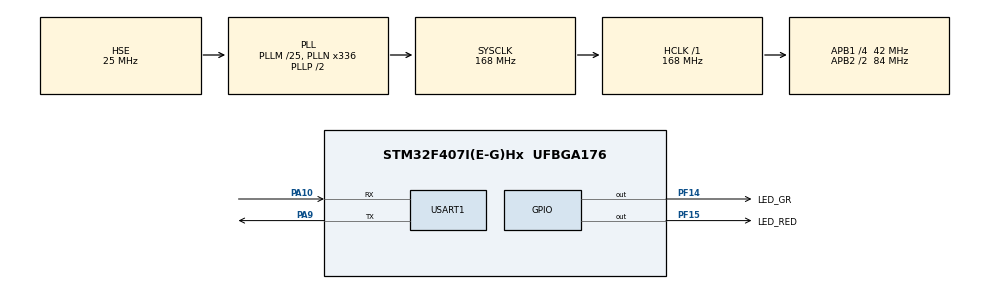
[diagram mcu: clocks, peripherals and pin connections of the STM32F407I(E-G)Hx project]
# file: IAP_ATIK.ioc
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Mcu.Family=STM32F4
RCC.PLLSourceVirtual=RCC_PLLSOURCE_HSE
PH0-OSC_IN.Signal=RCC_OSC_IN
RCC.CortexFreq_Value=168000000
PA10.Mode=Asynchronous
PF14.GPIO_Label=LED_GR
RCC.APB1CLKDivider=RCC_HCLK_DIV4
RCC.SYSCLKSource=RCC_SYSCLKSOURCE_PLLCLK
ProjectManager.StackSize=0x400
PA9.Mode=Asynchronous
ProjectManager.TargetToolchain=STM32CubeIDE
RCC.HCLKFreq_Value=168000000
RCC.APB2TimFreq_Value=168000000
PA9.Signal=USART1_TX
RCC.LSE_VALUE=32768
RCC.AHBFreq_Value=168000000
PH0-OSC_IN.Mode=HSE-External-Clock-Source
RCC.HSE_VALUE=25000000
board=custom
RCC.VCOOutputFreq_Value=336000000
RCC.APB2Freq_Value=84000000
PH1-OSC_OUT.Signal=RCC_OSC_OUT
PF15.GPIO_Label=LED_RED
PF15.Signal=GPIO_Output
Mcu.Name=STM32F407I(E-G)Hx
PH1-OSC_OUT.Mode=HSE-External-Clock-Source
RCC.48MHZClocksFreq_Value=84000000
RCC.SYSCLKFreq_VALUE=168000000
Mcu.Package=UFBGA176
USART1.VirtualMode=VM_ASYNC
PA10.Signal=USART1_RX
ProjectManager.HeapSize=0x200
RCC.HSI_VALUE=16000000
NVIC.PriorityGroup=NVIC_PRIORITYGROUP_4
RCC.APB2CLKDivider=RCC_HCLK_DIV2
RCC.PLLM=25
RCC.PLLN=336
PF14.Signal=GPIO_Output
RCC.APB1TimFreq_Value=84000000
RCC.APB1Freq_Value=42000000

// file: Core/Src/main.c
/* USER CODE BEGIN Header */
/**
  ******************************************************************************
  * @file           : main.c
  * @brief          : Main program body
  ******************************************************************************
  * @attention
  *
  * <h2><center>&copy; Copyright (c) 2021 STMicroelectronics.
  * All rights reserved.</center></h2>
  *
  * This software component is licensed by ST under BSD 3-Clause license,
  * the "License"; You may not use this file except in compliance with the
  * License. You may obtain a copy of the License at:
  *                        opensource.org/licenses/BSD-3-Clause
  *
  ******************************************************************************
  */
/* USER CODE END Header */
#include "main.h"

/* USER CODE BEGIN Includes */
#include "stm32f4xx_hal.h"
#include "menu.h"
#include "common.h"
/* USER CODE END Includes */

/* USER CODE BEGIN PV */
UART_HandleTypeDef UartHandle;

extern pFunction JumpToApplication;
extern uint32_t JumpAddress;
extern uint8_t 	IAP_mode;

/* USER CODE END PV */

void SystemClock_Config(void);
static void MX_GPIO_Init(void);
static void MX_USART1_UART_Init(void);

int main(void)
{
  /* USER CODE BEGIN 1 */
	uint8_t 	key = 0;			// version 1.3
	uint8_t 	bytes_read = 0;		// version 1.3
  /* USER CODE END 1 */

  /* MCU Configuration--------------------------------------------------------*/

  /* Reset of all peripherals, Initializes the Flash interface and the Systick. */
  HAL_Init();

  /* Configure the system clock */
  SystemClock_Config();

  /* Initialize all configured peripherals */
  MX_GPIO_Init();
  MX_USART1_UART_Init();
  /* USER CODE BEGIN 2 */

	IAP_mode = 0;

	FLASH_If_Init();
	Main_Menu ();

	IAP_mode = 0;

//	STM32F407 MSP will be 0x2002_0000, to accept this, below line is changed
//	if (((*(__IO uint32_t*)USER_START_ADDRESS) & 0x2FFE0000 ) == 0x20000000)
	if (((*(__IO uint32_t*)USER_START_ADDRESS) & 0x2FFD0000 ) == 0x20000000)
	{
		Serial_PutString((uint8_t *)"\r\nStart application program...\r\n\n");
		HAL_Delay( 200 );

#if 1 // D.C Lee, version 1.1, release used MCU resources before jump to app
		HAL_RCC_DeInit();
		HAL_DeInit();

		/* Disable SysTick */
		SysTick->CTRL = 0;
		SysTick->LOAD = 0;
		SysTick->VAL  = 0;
#endif
		/* Jump to user application */
		JumpAddress = *(__IO uint32_t*) (USER_START_ADDRESS + 4);
		JumpToApplication = (pFunction) JumpAddress;
		/* Initialize user application's Stack Pointer */
		__set_MSP(*(__IO uint32_t*) USER_START_ADDRESS);
		JumpToApplication();
	}
#if 1 // D.C Lee, version 1.3
	else
	{
		Serial_PutString((uint8_t *)"\r\nNo valid application program...\r\n\n");
		HAL_Delay( 200 );
	}
#endif

  /* USER CODE END 2 */

  /* Infinite loop */
  while (1)
  {

    /* USER CODE BEGIN 3 */
	#if 1 // D.C Lee, version 1.3, restart command (== 'rrr' or 'RRR') service added
		/* Receive key */
		if (HAL_UART_Receive(&UartHandle, &key, 1, 2) == HAL_OK)			// 2msec timeout
		{
			if ((key == 'r') || (key == 'R'))	// character 'R'
			{
				bytes_read++;
				if (bytes_read == 3)
				{
					Serial_PutString((uint8_t *)("\r\nRestart...\r\n"));
  					HAL_Delay(100);
					__NVIC_SystemReset();
				}
			}
			else
			{
				bytes_read = 0;
			}
		}
	#endif

  }
  /* USER CODE END 3 */
}

void SystemClock_Config(void)
{
  RCC_OscInitTypeDef RCC_OscInitStruct = {0};
  RCC_ClkInitTypeDef RCC_ClkInitStruct = {0};

  /** Configure the main internal regulator output voltage
  */
  __HAL_RCC_PWR_CLK_ENABLE();
  __HAL_PWR_VOLTAGESCALING_CONFIG(PWR_REGULATOR_VOLTAGE_SCALE1);
  /** Initializes the RCC Oscillators according to the specified parameters
  * in the RCC_OscInitTypeDef structure.
  */
  RCC_OscInitStruct.OscillatorType = RCC_OSCILLATORTYPE_HSE;
  RCC_OscInitStruct.HSEState = RCC_HSE_BYPASS;
  RCC_OscInitStruct.PLL.PLLState = RCC_PLL_ON;
  RCC_OscInitStruct.PLL.PLLSource = RCC_PLLSOURCE_HSE;
  RCC_OscInitStruct.PLL.PLLM = 25;
  RCC_OscInitStruct.PLL.PLLN = 336;
  RCC_OscInitStruct.PLL.PLLP = RCC_PLLP_DIV2;
  RCC_OscInitStruct.PLL.PLLQ = 4;
  if (HAL_RCC_OscConfig(&RCC_OscInitStruct) != HAL_OK)
  {
    Error_Handler();
  }
  /** Initializes the CPU, AHB and APB buses clocks
  */
  RCC_ClkInitStruct.ClockType = RCC_CLOCKTYPE_HCLK|RCC_CLOCKTYPE_SYSCLK
                              |RCC_CLOCKTYPE_PCLK1|RCC_CLOCKTYPE_PCLK2;
  RCC_ClkInitStruct.SYSCLKSource = RCC_SYSCLKSOURCE_PLLCLK;
  RCC_ClkInitStruct.AHBCLKDivider = RCC_SYSCLK_DIV1;
  RCC_ClkInitStruct.APB1CLKDivider = RCC_HCLK_DIV4;
  RCC_ClkInitStruct.APB2CLKDivider = RCC_HCLK_DIV2;

  if (HAL_RCC_ClockConfig(&RCC_ClkInitStruct, FLASH_LATENCY_5) != HAL_OK)
  {
    Error_Handler();
  }
}

static void MX_USART1_UART_Init(void)
{

	UartHandle.Instance = USART1;
	UartHandle.Init.BaudRate = 115200;
	UartHandle.Init.WordLength = UART_WORDLENGTH_8B;
	UartHandle.Init.StopBits = UART_STOPBITS_1;
	UartHandle.Init.Parity = UART_PARITY_NONE;
	UartHandle.Init.Mode = UART_MODE_TX_RX;
	UartHandle.Init.HwFlowCtl = UART_HWCONTROL_NONE;
	UartHandle.Init.OverSampling = UART_OVERSAMPLING_16;
  if (HAL_UART_Init(&UartHandle) != HAL_OK)
  {
    Error_Handler();
  }

}

static void MX_GPIO_Init(void)
{
  GPIO_InitTypeDef GPIO_InitStruct = {0};

  /* GPIO Ports Clock Enable */
  __HAL_RCC_GPIOA_CLK_ENABLE();
  __HAL_RCC_GPIOH_CLK_ENABLE();
  __HAL_RCC_GPIOF_CLK_ENABLE();

  /*Configure GPIO pin Output Level */
  HAL_GPIO_WritePin(GPIOF, LED_RED_Pin|LED_GR_Pin, GPIO_PIN_RESET);

  /*Configure GPIO pins : LED_RED_Pin LED_GR_Pin */
  GPIO_InitStruct.Pin = LED_RED_Pin|LED_GR_Pin;
  GPIO_InitStruct.Mode = GPIO_MODE_OUTPUT_PP;
  GPIO_InitStruct.Pull = GPIO_NOPULL;
  GPIO_InitStruct.Speed = GPIO_SPEED_FREQ_LOW;
  HAL_GPIO_Init(GPIOF, &GPIO_InitStruct);

}

void Error_Handler(void)
{
  __disable_irq();
  while (1)
  {
  }
}

/************************ (C) COPYRIGHT STMicroelectronics *****END OF FILE****/
